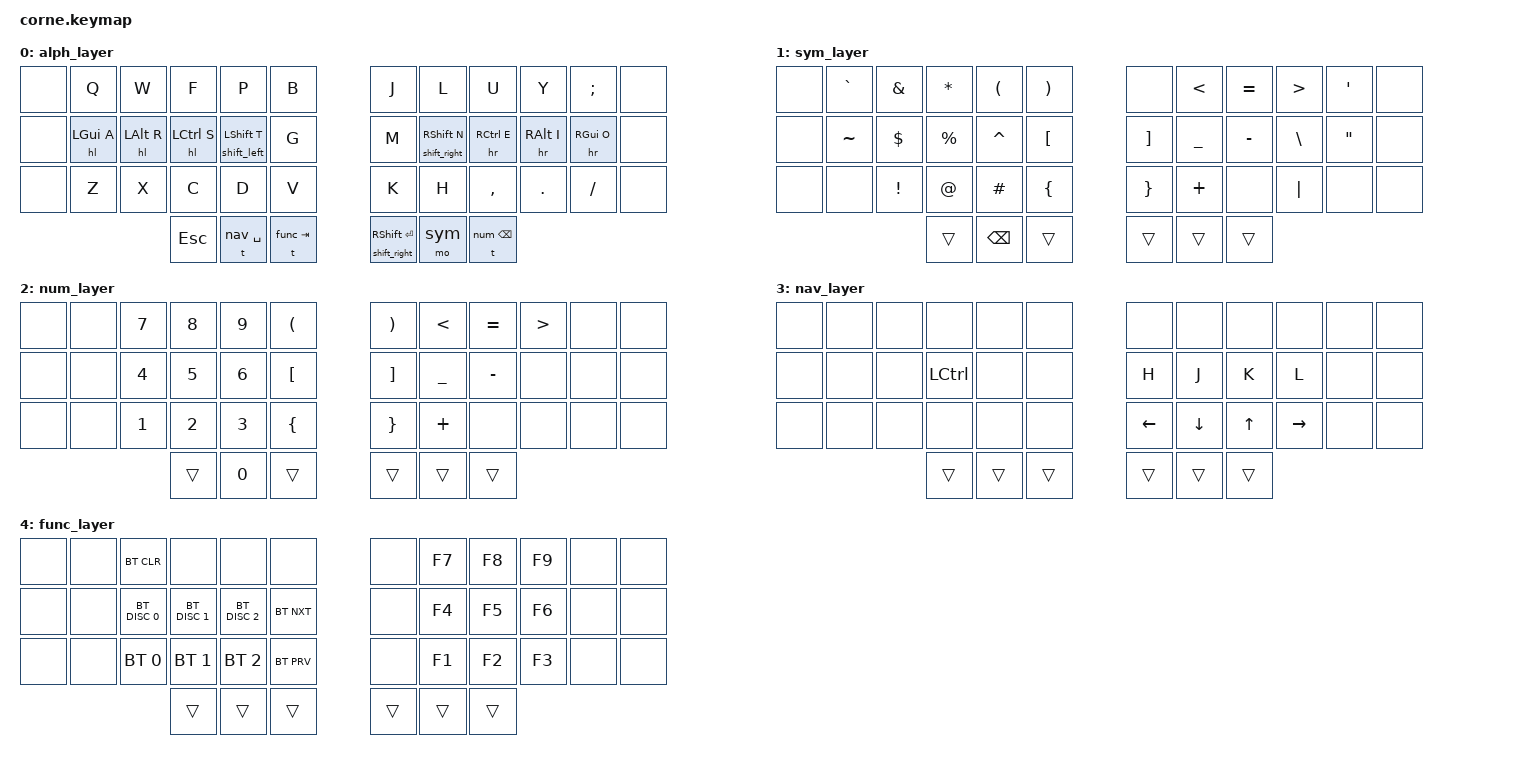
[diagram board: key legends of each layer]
/*
 * Copyright (c) 2020 The ZMK Contributors
 *
 * SPDX-License-Identifier: MIT
 */

#include <behaviors.dtsi>
#include <dt-bindings/zmk/keys.h>
#include <dt-bindings/zmk/bt.h>
#include "./corne_conf.dtsi"

/ {
        keymap {
                compatible = "zmk,keymap";

                alph_layer {
						// -----------------------------------------------------------------------------------------
						// | none |  Q   |  W   |  F   |  P   |  B  |     |  J  |  L   |  U  |  Y  |  ;  | none |
						// | none |  G/A |  A/R |  C/S |  S/T |  G  |     |  M  |  S/N | C/E | A/I | G/O | none |
						// | none |  Z   |  X   |  C   |  D   |  V  |     |  K  |  H   |  ,  |  .  |  /  | none |
						//                      |BT/ESC|NAV/SP|?/TAB|     |shft/ent  |SYM/BK| NUM |
                        bindings = <
   &none   &kp Q       &kp W       &kp F       &kp P                &kp B            	  &kp J        &kp L                &kp U       &kp Y      &kp SEMI   &none
   &none   &hl LGUI A  &hl LALT R  &hl LCTRL S &shift_left LSHFT T  &kp G            	  &kp M        &shift_right RSHFT N &hr RCTRL E &hr RALT I &hr RGUI O &none
   &none   &kp Z       &kp X       &kp C       &kp D                &kp V            	  &kp K        &kp H                &kp COMMA   &kp DOT    &kp FSLH   &none
                                   &kp ESC     &t nav SPACE         &t func TAB      	  &shift_right RSHFT RET  &mo sym   &t num BSPC
                        >;
                };
                sym_layer {
						// -----------------------------------------------------------------------------------------
						// | none |  `  |  &  |  *  |  (  |  )  |     |none |  <  |  =  |  >  |  '  | none |
						// | none |  ~  |  $  |  %  |  ^  |  [  |     |  ]  |  _  |  -  |  \  |  "  | none |
						// | none |none |  !  |  @  |  #  |  {  |     |  }  |  +  | none|  |  | none| none |
						//                    |trans|backsp|trans|    |trans|trans| trans |
                        bindings = <
   &none   &kp GRAVE   &kp AMPS  &kp STAR   &kp LPAR   &kp RPAR         &none     &kp LT    &kp EQUAL  &kp GT   &kp SQT  &none
   &none   &kp TILDE   &kp DLLR  &kp PRCNT  &kp CARET  &kp LBKT         &kp RBKT  &kp UNDER &kp MINUS  &kp BSLH &kp DQT  &none
   &none   &none       &kp EXCL  &kp AT     &kp HASH   &kp LBRC         &kp RBRC  &kp PLUS  &none      &kp PIPE &none    &none
                                 &trans     &kp BSPC   &trans           &trans    &trans    &trans
                        >;
                };
                num_layer {
						// -----------------------------------------------------------------------------------------
						// | none | none|  7  |  8  |  9  |  (  |     |  )  |  <  |  =  |  >  | none| none |
						// | none | none|  4  |  5  |  6  |  [  |     |  ]  |  _  |  -  | none| none| none |
						// | none | none|  1  |  2  |  3  |  {  |     |  }  |  +  | none| none| none| none |
						//                    |trans|  0  |trans|     |trans|trans| trans |
                        bindings = <
   &none   &none   &kp N7  &kp N8  &kp N9   &kp LPAR         &kp RPAR  &kp LT    &kp EQUAL  &kp GT  &none &none
   &none   &none   &kp N4  &kp N5  &kp N6   &kp LBKT         &kp RBKT  &kp UNDER &kp MINUS  &none   &none &none
   &none   &none   &kp N1  &kp N2  &kp N3   &kp LBRC         &kp RBRC  &kp PLUS  &none      &none   &none &none
                           &trans  &kp N0   &trans           &trans    &trans    &trans
                        >;
                };
                nav_layer {
						// -----------------------------------------------------------------------------------------
						// | none | none | none | none  | none  | none  |     | none  | none  | none  | none  | none | none |
						// | none | none | none | CTRL  | none  | none  |     |   H   |  J    |   K   |   L   | none | none |
						// | none | none | none | none  | none  | none  |     | LEFT  | DOWN  |  UP   | RIGHT | none | none |
						//                      | trans | trans | trans |     | trans | trans | trans |
                        bindings = <
   &none   &none  &none  &none     &none  &none 		 &none     &none     &none   &none      &none  &none
   &none   &none  &none  &kp LCTRL &none  &none 		 &kp H     &kp J     &kp K   &kp L      &none  &none
   &none   &none  &none  &none     &none  &none 		 &kp LEFT  &kp DOWN  &kp UP  &kp RIGHT  &none  &none
                  		 &trans    &trans &trans 		 &trans    &trans    &trans
                        >;
                };
                func_layer {
                        bindings = <
   &none   &none  &bt BT_CLR    &none          &none         &none 		         &none     &kp F7    &kp F8  &kp F9  &none  &none
   &none   &none  &bt BT_DISC 0 &bt BT_DISC 1  &bt BT_DISC 2 &bt BT_NXT 		 &none     &kp F4    &kp F5  &kp F6  &none  &none
   &none   &none  &bt BT_SEL 0  &bt BT_SEL 1   &bt BT_SEL 2  &bt BT_PRV 		 &none     &kp F1    &kp F2  &kp F3  &none  &none
                  		        &trans  &trans &trans 		                     &trans    &trans    &trans
                        >;
                };
        };
};
